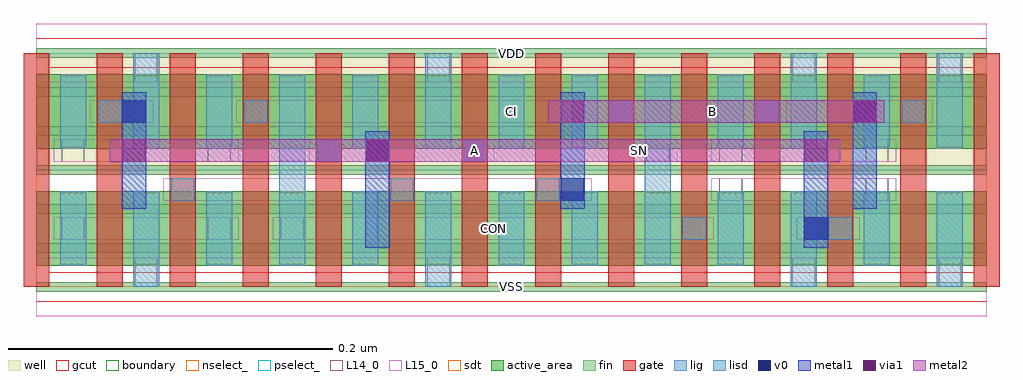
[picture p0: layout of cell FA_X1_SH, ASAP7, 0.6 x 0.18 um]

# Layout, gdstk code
import gdstk
lib = gdstk.Library(unit=1e-6, precision=2.5e-10)
def R(c, l, rs):  # rectangles x0, y0, x1, y1
    for r in rs: c.add(gdstk.rectangle(r[:2], r[2:], *l))
def A(c, l, x, y, w, h, nx, ny, dx, dy):  # array of equal rectangles
    R(c, l, [(x+i*dx, y+j*dy, x+i*dx+w, y+j*dy+h) for i in range(nx) for j in range(ny)])
def P(c, l, *ps):  # polygons
    for p in ps: c.add(gdstk.Polygon(p, *l))
well = (1, 0)
fin = (2, 0)
gate = (7, 0)
gcut = (10, 0)
active_area = (11, 0)
nselect_ = (12, 0)
pselect_ = (13, 0)
L14_0 = (14, 0)
L15_0 = (15, 0)
lig = (16, 0)
lisd = (17, 0)
v0 = (18, 0)
metal1 = (19, 0)
metal2 = (20, 0)
via1 = (21, 0)
sdt = (88, 0)
boundary = (100, 0)

fa_x1_sh = lib.new_cell('FA_X1_SH')
R(fa_x1_sh, well, [(0,0.072,0.585,0.144)])
A(fa_x1_sh, fin, 0, -0.003, 0.585, 0.006, 1, 7, 0, 0.024)
A(fa_x1_sh, gate, -0.008, 0, 0.016, 0.144, 14, 1, 0.045, 0)
P(fa_x1_sh, gcut, [(0,-0.009),(0,0),(-0.008,0),(-0.008,0.135),(0.008,0.135),(0.008,0.009),(0.577,0.009),(0.577,0.135),(-0.008,0.135),(-0.008,0.144),(0,0.144),(0,0.153),(0.585,0.153),(0.585,0.144),(0.593,0.144),(0.593,0),(0.585,0),(0.585,-0.009)])
R(fa_x1_sh, active_area, [(0,0.013,0.585,0.059), (0,0.085,0.585,0.131)])
R(fa_x1_sh, nselect_, [(0,0,0.585,0.072)])
R(fa_x1_sh, pselect_, [(0,0.072,0.585,0.144)])
A(fa_x1_sh, L14_0, 0.353, 0.101, 0.014, 0.014, 3, 1, 0.09, 0)
R(fa_x1_sh, L14_0, [(0.0605,0,0.0745,0.018), (0.2405,0,0.2545,0.018), (0.4655,0,0.4795,0.018), (0.5555,0,0.5695,0.018), (0.0155,0.029,0.0295,0.043), (0.1055,0.029,0.1195,0.043), (0.1505,0.029,0.1645,0.043), (0.398,0.029,0.412,0.043), (0.488,0.029,0.502,0.043), (0.083,0.053,0.097,0.067), (0.218,0.053,0.232,0.067), (0.308,0.053,0.322,0.067), (0.4205,0.053,0.4345,0.067), (0.5105,0.053,0.5245,0.067), (0.0155,0.077,0.0295,0.091), (0.1055,0.077,0.1195,0.091), (0.173,0.077,0.187,0.091), (0.263,0.077,0.277,0.091), (0.3755,0.077,0.3895,0.091), (0.4205,0.077,0.4345,0.091), (0.5105,0.077,0.5245,0.091), (0.038,0.101,0.052,0.115), (0.128,0.101,0.142,0.115), (0.0605,0.126,0.0745,0.144), (0.2405,0.126,0.2545,0.144), (0.4655,0.126,0.4795,0.144), (0.5555,0.126,0.5695,0.144)])
R(fa_x1_sh, L15_0, [(0,-0.018,0.585,0.018), (0.0105,0.029,0.1245,0.043), (0.1455,0.029,0.417,0.043), (0.468,0.029,0.507,0.043), (0.078,0.053,0.342,0.067), (0.4155,0.053,0.5295,0.067), (0.0105,0.077,0.1245,0.091), (0.168,0.077,0.282,0.091), (0.36,0.077,0.3945,0.091), (0.4155,0.077,0.5295,0.091), (0.033,0.101,0.072,0.115), (0.123,0.101,0.462,0.115), (0.495,0.101,0.552,0.115), (0,0.126,0.585,0.162)])
A(fa_x1_sh, lig, 0.353, 0.101, 0.014, 0.014, 3, 1, 0.09, 0)
R(fa_x1_sh, lig, [(0.398,0.029,0.412,0.043), (0.488,0.029,0.502,0.043), (0.083,0.053,0.097,0.067), (0.218,0.053,0.232,0.067), (0.308,0.053,0.322,0.067), (0.173,0.077,0.187,0.091), (0.263,0.077,0.277,0.091), (0.038,0.101,0.052,0.115), (0.128,0.101,0.142,0.115)])
A(fa_x1_sh, lisd, 0.0145, 0.013, 0.016, 0.046, 4, 2, 0.09, 0.072)
A(fa_x1_sh, lisd, 0.3295, 0.013, 0.016, 0.046, 3, 2, 0.09, 0.072)
R(fa_x1_sh, lisd, [(0.0595,0,0.0755,0.059), (0.2395,0,0.2555,0.059), (0.4645,0,0.4805,0.059), (0.5545,0,0.5705,0.059), (0.1495,0.013,0.1655,0.131), (0.3745,0.013,0.3905,0.131), (0.0595,0.085,0.0755,0.144), (0.2395,0.085,0.2555,0.144), (0.4645,0.085,0.4805,0.144), (0.5545,0.085,0.5705,0.144)])
R(fa_x1_sh, v0, [(0.473,0.029,0.487,0.043), (0.323,0.053,0.337,0.067), (0.203,0.077,0.217,0.091), (0.053,0.101,0.067,0.115), (0.503,0.101,0.517,0.115)])
R(fa_x1_sh, metal1, [(0.2025,0.024,0.2175,0.096), (0.4725,0.024,0.4875,0.096), (0.0525,0.048,0.0675,0.12), (0.3225,0.048,0.3375,0.12), (0.5025,0.048,0.5175,0.12)])
R(fa_x1_sh, metal2, [(0.045,0.077,0.495,0.091), (0.315,0.101,0.522,0.115)])
R(fa_x1_sh, via1, [(0.053,0.077,0.067,0.091), (0.203,0.077,0.217,0.091), (0.473,0.077,0.487,0.091), (0.323,0.101,0.337,0.115), (0.503,0.101,0.517,0.115)])
A(fa_x1_sh, sdt, 0.0145, 0.014, 0.016, 0.044, 13, 2, 0.045, 0.072)
R(fa_x1_sh, boundary, [(0,0,0.585,0.144)])
fa_x1_sh.add(gdstk.Label('VSS', (0.2925,0), layer=15, texttype=251))
fa_x1_sh.add(gdstk.Label('VDD', (0.2925,0.144), layer=15, texttype=251))
fa_x1_sh.add(gdstk.Label('CON', (0.2813,0.036), layer=15, texttype=251))
fa_x1_sh.add(gdstk.Label('VSS', (0.2925,0), layer=15, texttype=251))
fa_x1_sh.add(gdstk.Label('VDD', (0.2925,0.144), layer=15, texttype=251))
fa_x1_sh.add(gdstk.Label('SN', (0.3713,0.084), layer=15, texttype=251))
fa_x1_sh.add(gdstk.Label('VSS', (0.2925,0), layer=15, texttype=251))
fa_x1_sh.add(gdstk.Label('VDD', (0.2925,0.144), layer=15, texttype=251))
fa_x1_sh.add(gdstk.Label('VSS', (0.2925,0), layer=15, texttype=251))
fa_x1_sh.add(gdstk.Label('VDD', (0.2925,0.144), layer=15, texttype=251))
fa_x1_sh.add(gdstk.Label('CI', (0.2925,0.108), layer=15, texttype=251))
fa_x1_sh.add(gdstk.Label('VSS', (0.2925,0), layer=15, texttype=251))
fa_x1_sh.add(gdstk.Label('VDD', (0.2925,0.144), layer=15, texttype=251))
fa_x1_sh.add(gdstk.Label('A', (0.27,0.084), layer=20, texttype=251))
fa_x1_sh.add(gdstk.Label('B', (0.4163,0.108), layer=20, texttype=251))
fa_x1_sh.add(gdstk.Label('VSS', (0.2925,0), layer=3, texttype=251))
fa_x1_sh.add(gdstk.Label('VSS', (0.2925,0), layer=3, texttype=251))
fa_x1_sh.add(gdstk.Label('VSS', (0.2925,0), layer=3, texttype=251))
fa_x1_sh.add(gdstk.Label('VSS', (0.2925,0), layer=3, texttype=251))
fa_x1_sh.add(gdstk.Label('VSS', (0.2925,0), layer=3, texttype=251))
fa_x1_sh.add(gdstk.Label('VDD', (0.2925,0.144), layer=1, texttype=251))
fa_x1_sh.add(gdstk.Label('VDD', (0.2925,0.144), layer=1, texttype=251))
fa_x1_sh.add(gdstk.Label('VDD', (0.2925,0.144), layer=1, texttype=251))
fa_x1_sh.add(gdstk.Label('VDD', (0.2925,0.144), layer=1, texttype=251))
fa_x1_sh.add(gdstk.Label('VDD', (0.2925,0.144), layer=1, texttype=251))

lib.write_gds('FA_X1_SH.gds')
